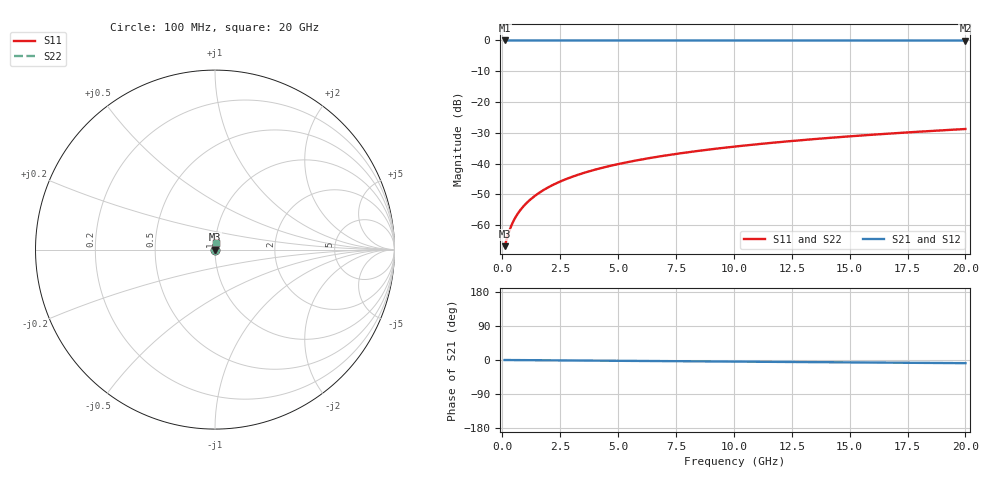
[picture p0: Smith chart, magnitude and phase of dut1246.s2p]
! Touchstone file exported from HFSS 2026.1.0
!  File:  C:/ffzhzh/LocalFiles/Ansys_Project_Files/temp_train_TSV_1246_1783193555_43440.aedt
!  Generated:  03:34:27 AM Jul  5, 2026
!  Design:  TSV
!  Project:  temp_train_TSV_1246_1783193555_43440
! Variables:
!  h_bsmrdl = 2um
!  h_ox = 20um
!  h_rdl = 5um
!  h_sub = 83.99um
!  h_tmrdl = 5um
!  h_tsv = 83.99um
!  h_via = 3um
!  l_bsmrdl = 300um
!  l_sub = 410.38um
!  l_tmrdl = 200um
!  m_sub = 200um
!  pitch = 29.87um
!  r_tsv = 5.19um
!  s_tmrdl = 10um
!  w_bsmrdl = 18um
!  w_sub = 500um
!  w_tmrdl = 12um
!  x_tsv_center1 = 206um
!  x_tsv_center2 = 524um
!  x_tsv_center3 = 736um
!  x_tsv_center4 = 1054um
!  x_tsv_center5 = 1266um
!  x_tsv_center6 = 1584um
# GHz S MA R 50.000000
! Terminal data exported
! Port[1] = TSV1_1_T1
! Port[2] = TSV1_1_T2
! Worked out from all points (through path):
!   200 points, 100 MHz to 20 GHz, reference 50 ohm
!   highest |S21| = 0.00 dB at 100 MHz (marker M1); lowest = 0.0 dB at 20 GHz (marker M2)
!   group delay of S21, straight-line fit = 1.16 ps
!   lowest |S11| = -66.9 dB at 100 MHz (marker M3), VSWR 1.00, Z = 50 + j0.0231 ohm
!   |S11| at or under -10 dB: start of sweep to end of sweep
!   |S22| runs from -66.9 to -28.8 dB; largest |S21 - S12| = 2.3e-15
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0.1  0.0004542 30.5  0.9996 -0.0  0.9996 -0.0  0.0004542 30.5
! Gamma 0 0 0 0
! Port Impedance 50 0 50 0
0.2  0.0006107 48.6  0.9996 -0.1  0.9996 -0.1  0.0006107 48.6
0.3  0.0008004 58.1  0.9996 -0.1  0.9996 -0.1  0.0008004 58.1
0.4  0.0009994 63.6  0.9996 -0.2  0.9996 -0.2  0.0009994 63.6
0.5  0.0012 67.0  0.9995 -0.2  0.9995 -0.2  0.0012 67.0
0.6  0.001399 69.5  0.9995 -0.3  0.9995 -0.3  0.001399 69.5
0.8  0.001794 72.7  0.9995 -0.3  0.9995 -0.3  0.001794 72.7
1.1  0.002381 75.7  0.9994 -0.5  0.9994 -0.5  0.002381 75.7
1.3  0.002771 77.0  0.9994 -0.6  0.9994 -0.6  0.002771 77.0
1.6  0.003355 78.3  0.9993 -0.7  0.9993 -0.7  0.003355 78.3
2.1  0.004327 79.7  0.9993 -0.9  0.9993 -0.9  0.004327 79.7
2.7  0.005482 80.6  0.9992 -1.2  0.9992 -1.2  0.005482 80.6
3.5  0.007002 81.1  0.9991 -1.5  0.9991 -1.5  0.007002 81.1
4.2  0.008311 81.3  0.999 -1.8  0.999 -1.8  0.008311 81.3
5  0.009788 81.4  0.9988 -2.1  0.9988 -2.1  0.009788 81.4
5.9  0.01143 81.4  0.9987 -2.5  0.9987 -2.5  0.01143 81.4
6.8  0.01306 81.3  0.9986 -2.9  0.9986 -2.9  0.01306 81.3
8.3  0.01575 81.2  0.9984 -3.5  0.9984 -3.5  0.01575 81.2
10.1  0.01897 80.9  0.9982 -4.2  0.9982 -4.2  0.01897 80.9
13.4  0.02483 80.2  0.9979 -5.6  0.9979 -5.6  0.02483 80.2
16.7  0.03064 79.2  0.9975 -7.0  0.9975 -7.0  0.03064 79.2
20  0.03639 78.1  0.9971 -8.3  0.9971 -8.3  0.03639 78.1
